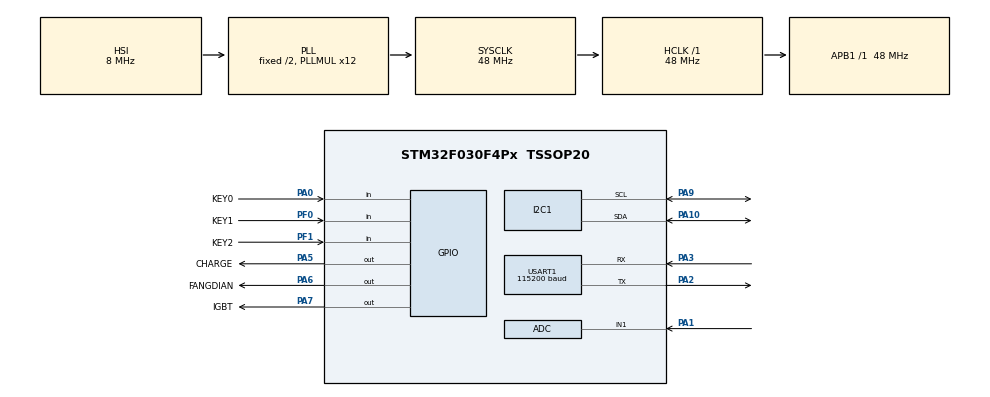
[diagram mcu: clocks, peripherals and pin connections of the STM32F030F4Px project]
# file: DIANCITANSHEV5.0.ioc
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ADC.SamplingTime=ADC_SAMPLETIME_55CYCLES_5
Dma.Request0=USART1_RX
Dma.Request1=USART1_TX
Dma.USART1_RX.0.Direction=DMA_PERIPH_TO_MEMORY
Dma.USART1_RX.0.Instance=DMA1_Channel3
Dma.USART1_RX.0.MemDataAlignment=DMA_MDATAALIGN_BYTE
Dma.USART1_RX.0.MemInc=DMA_MINC_ENABLE
Dma.USART1_RX.0.Mode=DMA_CIRCULAR
Dma.USART1_RX.0.PeriphDataAlignment=DMA_PDATAALIGN_BYTE
Dma.USART1_RX.0.PeriphInc=DMA_PINC_DISABLE
Dma.USART1_RX.0.Priority=DMA_PRIORITY_MEDIUM
Dma.USART1_TX.1.Direction=DMA_MEMORY_TO_PERIPH
Dma.USART1_TX.1.Instance=DMA1_Channel2
Dma.USART1_TX.1.MemDataAlignment=DMA_MDATAALIGN_BYTE
Dma.USART1_TX.1.MemInc=DMA_MINC_ENABLE
Dma.USART1_TX.1.Mode=DMA_NORMAL
Dma.USART1_TX.1.PeriphDataAlignment=DMA_PDATAALIGN_BYTE
Dma.USART1_TX.1.PeriphInc=DMA_PINC_DISABLE
Dma.USART1_TX.1.Priority=DMA_PRIORITY_MEDIUM
I2C1.Timing=0x20303E5D
Mcu.Family=STM32F0
Mcu.Name=STM32F030F4Px
Mcu.Package=TSSOP20
NVIC.DMA1_Channel2_3_IRQn=true\:2\:0\:true\:false\:true\:false\:true
NVIC.TIM3_IRQn=true\:3\:0\:true\:false\:true\:true\:true
NVIC.USART1_IRQn=true\:0\:0\:false\:false\:true\:true\:true
PA0.GPIO_Label=KEY0
PA0.GPIO_PuPd=GPIO_PULLUP
PA0.Signal=GPIO_Input
PA1.Mode=IN1
PA1.Signal=ADC_IN1
PA10.Mode=I2C
PA10.Signal=I2C1_SDA
PA13.Mode=Serial_Wire
PA13.Signal=SYS_SWDIO
PA14.Mode=Serial_Wire
PA14.Signal=SYS_SWCLK
PA2.Mode=Asynchronous
PA2.Signal=USART1_TX
PA3.Mode=Asynchronous
PA3.Signal=USART1_RX
PA5.GPIO_Label=CHARGE
PA5.GPIO_Speed=GPIO_SPEED_FREQ_HIGH
PA5.Signal=GPIO_Output
PA6.GPIO_Label=FANGDIAN
PA6.GPIO_Speed=GPIO_SPEED_FREQ_HIGH
PA6.Signal=GPIO_Output
PA7.GPIO_Label=IGBT
PA7.GPIO_Speed=GPIO_SPEED_FREQ_HIGH
PA7.Signal=GPIO_Output
PA9.Mode=I2C
PA9.Signal=I2C1_SCL
PF0-OSC_IN.GPIO_Label=KEY1
PF0-OSC_IN.GPIO_PuPd=GPIO_PULLUP
PF0-OSC_IN.Signal=GPIO_Input
PF1-OSC_OUT.GPIO_Label=KEY2
PF1-OSC_OUT.GPIO_PuPd=GPIO_PULLUP
PF1-OSC_OUT.Signal=GPIO_Input
ProjectManager.HeapSize=0x200
ProjectManager.StackSize=0x400
ProjectManager.TargetToolchain=MDK-ARM V5.27
RCC.AHBFreq_Value=48000000
RCC.APB1Freq_Value=48000000
RCC.APB1TimFreq_Value=48000000
RCC.HCLKFreq_Value=48000000
RCC.I2c1ClockSelection=RCC_I2C1CLKSOURCE_SYSCLK
RCC.PLLMUL=RCC_PLL_MUL12
RCC.SYSCLKFreq_VALUE=48000000
RCC.SYSCLKSource=RCC_SYSCLKSOURCE_PLLCLK
TIM3.AutoReloadPreload=TIM_AUTORELOAD_PRELOAD_ENABLE
TIM3.Period=1999
TIM3.Prescaler=4799
USART1.BaudRate=115200
USART1.DataInvertParam=ADVFEATURE_DATAINV_DISABLE
USART1.MSBFirstParam=ADVFEATURE_MSBFIRST_DISABLE
USART1.OneBitSampling=UART_ONE_BIT_SAMPLE_DISABLE
USART1.OverrunDisableParam=ADVFEATURE_OVERRUN_DISABLE
USART1.SwapParam=ADVFEATURE_SWAP_DISABLE
USART1.VirtualMode-Asynchronous=VM_ASYNC
VP_TIM3_VS_ClockSourceINT.Mode=Internal
board=custom

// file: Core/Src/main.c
/* USER CODE BEGIN Header */
/**
  ******************************************************************************
  * @file           : main.c
  * @brief          : Main program body
  ******************************************************************************
  * @attention
  *
  * <h2><center>&copy; Copyright (c) 2021 STMicroelectronics.
  * All rights reserved.</center></h2>
  *
  * This software component is licensed by ST under BSD 3-Clause license,
  * the "License"; You may not use this file except in compliance with the
  * License. You may obtain a copy of the License at:
  *                        opensource.org/licenses/BSD-3-Clause
  *
  ******************************************************************************
  */
/* USER CODE END Header */
#include "main.h"
#include "adc.h"
#include "dma.h"
#include "i2c.h"
#include "tim.h"
#include "usart.h"
#include "gpio.h"

/* USER CODE BEGIN Includes */
#include "olediic.h"
#include "electronic.h"
/* USER CODE END Includes */

/* USER CODE BEGIN PTD */
uint16_t ADC_VALUE=0;
/* USER CODE END PTD */

/* USER CODE BEGIN PM */
typedef uint8_t   u8;
unsigned char temp_data = 0;
/* USER CODE END PM */

/* USER CODE BEGIN PV */
typedef struct __Buffer_Type
{
    u8 buffer[64];
    u8 vbuffer[64];
    unsigned int write_count;

} Buffer_Type;
Buffer_Type HOST_Buffer;
int Flag=0;
/* USER CODE END PV */

void SystemClock_Config(void);
/* USER CODE BEGIN PFP */
uint8_t received_data[6];
uint8_t transmit_data[6] = {HEAD,0,0,0,0,END};
uint8_t ADC_VALUE_HIGH;
uint8_t ADC_VALUE_LOW;
uint8_t control_source;

int16_t expert_cap_value=0;
int16_t actual_cap_value=0;
uint8_t expert_shoot_state = 0;
uint8_t actual_shoot_state = 0;
/* 数据包：74 00 00  74 b8 */
/* USER CODE END PFP */

/* USER CODE BEGIN 0 */

void get_actual_value_tx(void);

/**
 * @brief 进行bcc校验，返回校验结果
 *
 * @param data 要校验的数组地址
 * @param sum 校验的数据位数（单位：字节）
 * @return unsigned int
 */
unsigned int check_bcc(unsigned char * data,unsigned int sum)
{
    unsigned char bcc_num = 0;
    unsigned int i = 0;
    while(i < sum)
    {
        bcc_num ^= *data;
        data++;
        i++;
    }
    return bcc_num;
}

void get_data_from_mcu(void);
void get_expert_value_rx(void);
/* USER CODE END 0 */

int main(void)
{

    /* MCU Configuration--------------------------------------------------------*/

    /* Reset of all peripherals, Initializes the Flash interface and the Systick. */
    HAL_Init();

    /* Configure the system clock */
    SystemClock_Config();

    /* Initialize all configured peripherals */
    MX_GPIO_Init();
    MX_DMA_Init();
    MX_I2C1_Init();
    MX_ADC_Init();
    MX_USART1_UART_Init();
    MX_TIM3_Init();
    /* USER CODE BEGIN 2 */
    OLED_Init();
    OLED_Clear();
    OLED_ShowString(0,0,"Vol:      V",16);
    OLED_ShowString(0,2,"Charging:",16);
    OLED_ShowString(0,4,"Discharg:",16);
    OLED_ShowString(0,6,"Shooting:",16);
    HAL_TIM_Base_Start_IT(&htim3);
    HAL_Delay(100);
    HOST_Buffer.write_count=0;

    /* USER CODE END 2 */

    /* Infinite loop */
    while (1)
    {

        /* USER CODE BEGIN 3 */

        OLED_ShowNum(36,0,actual_cap_value,5,16);
        //strcat(transmit_data,HYM);
        //HAL_UART_Transmit_DMA(&huart1,LYH,16);

        HAL_UART_Receive_DMA(&huart1,&temp_data,1);
        get_data_from_mcu();//从上位机获得数据
        get_expert_value_rx();//解析获得的数据
        get_actual_value_tx();//获取实际信息并向上位机发送状态
        electronic_dispatch();//控制权分配，
    }
    /* USER CODE END 3 */
}

void SystemClock_Config(void)
{
    RCC_OscInitTypeDef RCC_OscInitStruct = {0};
    RCC_ClkInitTypeDef RCC_ClkInitStruct = {0};
    RCC_PeriphCLKInitTypeDef PeriphClkInit = {0};

    /** Initializes the RCC Oscillators according to the specified parameters
    * in the RCC_OscInitTypeDef structure.
    */
    RCC_OscInitStruct.OscillatorType = RCC_OSCILLATORTYPE_HSI|RCC_OSCILLATORTYPE_HSI14;
    RCC_OscInitStruct.HSIState = RCC_HSI_ON;
    RCC_OscInitStruct.HSI14State = RCC_HSI14_ON;
    RCC_OscInitStruct.HSICalibrationValue = RCC_HSICALIBRATION_DEFAULT;
    RCC_OscInitStruct.HSI14CalibrationValue = 16;
    RCC_OscInitStruct.PLL.PLLState = RCC_PLL_ON;
    RCC_OscInitStruct.PLL.PLLSource = RCC_PLLSOURCE_HSI;
    RCC_OscInitStruct.PLL.PLLMUL = RCC_PLL_MUL12;
    RCC_OscInitStruct.PLL.PREDIV = RCC_PREDIV_DIV1;
    if (HAL_RCC_OscConfig(&RCC_OscInitStruct) != HAL_OK)
    {
        Error_Handler();
    }
    /** Initializes the CPU, AHB and APB buses clocks
    */
    RCC_ClkInitStruct.ClockType = RCC_CLOCKTYPE_HCLK|RCC_CLOCKTYPE_SYSCLK
                                  |RCC_CLOCKTYPE_PCLK1;
    RCC_ClkInitStruct.SYSCLKSource = RCC_SYSCLKSOURCE_PLLCLK;
    RCC_ClkInitStruct.AHBCLKDivider = RCC_SYSCLK_DIV1;
    RCC_ClkInitStruct.APB1CLKDivider = RCC_HCLK_DIV1;

    if (HAL_RCC_ClockConfig(&RCC_ClkInitStruct, FLASH_LATENCY_1) != HAL_OK)
    {
        Error_Handler();
    }
    PeriphClkInit.PeriphClockSelection = RCC_PERIPHCLK_USART1|RCC_PERIPHCLK_I2C1;
    PeriphClkInit.Usart1ClockSelection = RCC_USART1CLKSOURCE_PCLK1;
    PeriphClkInit.I2c1ClockSelection = RCC_I2C1CLKSOURCE_SYSCLK;
    if (HAL_RCCEx_PeriphCLKConfig(&PeriphClkInit) != HAL_OK)
    {
        Error_Handler();
    }
}

/* USER CODE BEGIN 4 */

void get_data_from_mcu()
{
    if(HOST_Buffer.write_count<6)
    {
        Flag=0;
    }
    if(HOST_Buffer.write_count>=6) Flag=1;

    if(HOST_Buffer.buffer[HOST_Buffer.write_count-1]==END&&Flag==1)
    {
        if(HOST_Buffer.buffer[HOST_Buffer.write_count-6]==HEAD)
        {
            received_data[RX_HEAD_CHANNEL] = HOST_Buffer.buffer[HOST_Buffer.write_count-6];
            received_data[RX_STATE_CHANNEL] = HOST_Buffer.buffer[HOST_Buffer.write_count-5];
            received_data[RX_VOLTAGE_CHANNEL] = HOST_Buffer.buffer[HOST_Buffer.write_count-4];
            received_data[RX_VOLTAGE_CHANNEL+1] = HOST_Buffer.buffer[HOST_Buffer.write_count-3];
            received_data[RX_BCC_CHANNEL] = HOST_Buffer.buffer[HOST_Buffer.write_count-2];
            received_data[RX_END_CHANNEL] = HOST_Buffer.buffer[HOST_Buffer.write_count-1];
            control_source=CONTROLED_BY_MCU;
        }
    }
}
void get_expert_value_rx(void)
{
    expert_shoot_state = received_data[RX_STATE_CHANNEL];
    expert_cap_value = received_data[RX_VOLTAGE_CHANNEL];
    expert_cap_value|= (received_data[RX_VOLTAGE_CHANNEL+1])<<8;
}

void get_actual_value_tx()
{
    HAL_ADC_Start(&hadc);
    HAL_ADC_PollForConversion(&hadc, 10);    //等待转换完成，第二个参数表示超时时间，单位ms
    if(HAL_IS_BIT_SET(HAL_ADC_GetState(&hadc), HAL_ADC_STATE_REG_EOC))
    {
        ADC_VALUE=HAL_ADC_GetValue(&hadc);
    }
    actual_cap_value = ADC_VALUE*6/35;
}

void HAL_TIM_PeriodElapsedCallback(TIM_HandleTypeDef *htim)
{
}

uint8_t check_control_src()
{
    if(received_data[RX_HEAD_CHANNEL] == HEAD &&
            received_data[RX_END_CHANNEL] == END &&
            received_data[RX_BCC_CHANNEL] == check_bcc(received_data,RX_BCC_CHANNEL))
    {
        return CONTROLED_BY_MCU;
    }
    else
    {
        return CONTROLED_BY_EXTI;
    }

}

void HAL_UART_RxCpltCallback(UART_HandleTypeDef *huart)
{
    if(huart == &huart1)
    {
        control_source = check_control_src();
        // get_expert_value_rx();
    }
    if(HOST_Buffer.write_count < 64)
    {
        HOST_Buffer.buffer[HOST_Buffer.write_count] = temp_data;
        HOST_Buffer.write_count++;
    }
    else
    {
        HOST_Buffer.write_count = 0;
        HOST_Buffer.buffer[HOST_Buffer.write_count] = temp_data;
        HOST_Buffer.vbuffer[HOST_Buffer.write_count] = temp_data;
        HOST_Buffer.write_count++;
    }

}

//void HAL_UART_TxCpltCallback(UART_HandleTypeDef *huart)
//{
//	HAL_UART_Transmit_DMA(&huart1,LYY,12);
//}

/* USER CODE END 4 */

void Error_Handler(void)
{
    __disable_irq();
    while (1)
    {
    }
}

/************************ (C) COPYRIGHT STMicroelectronics *****END OF FILE****/
